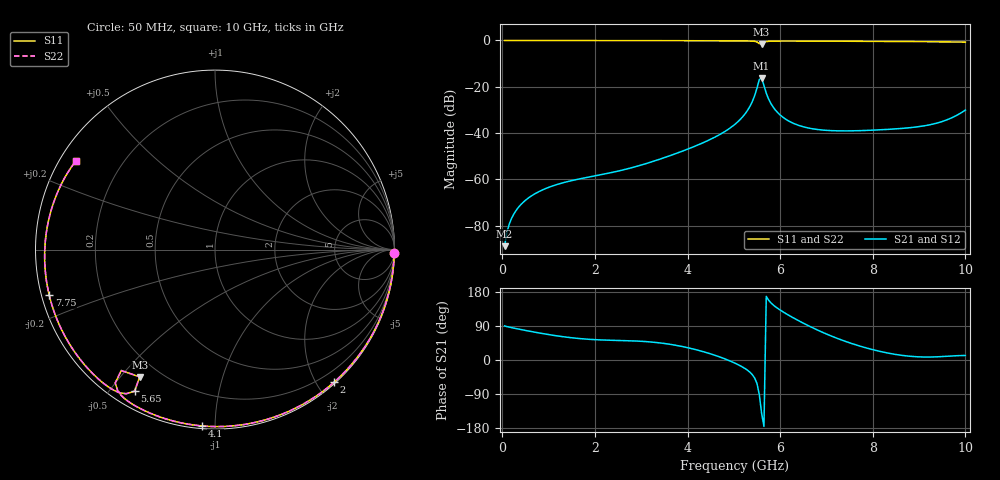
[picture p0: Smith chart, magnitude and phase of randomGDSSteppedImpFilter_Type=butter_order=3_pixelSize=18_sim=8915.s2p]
! freq	dB(S11)	phase(S11)	dB(S12)	phase(S12)
!  dB(S21)	phase(S21)	dB(S22)	phase(S22)
!S-par simulation data
#  GHz  S  DB  R 50
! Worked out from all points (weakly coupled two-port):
!   200 points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, 50 MHz to 10 GHz, reference 50 ohm
!   highest |S21| = -16.21 dB at 5.6 GHz (marker M1); lowest = -88.9 dB at 50 MHz (marker M2)
!   lowest |S11| = -1.7 dB at 5.6 GHz (marker M3), VSWR 10.38, Z = 6.37 - j28.2 ohm
!   |S11| at or under -10 dB: nowhere
!   |S22| runs from -1.7 to 0.0 dB; largest |S21 - S12| = 0
!   S11 on the Smith chart (normalised r, x): 50 MHz: 7, -94; 2 GHz: 0.02, -2.24; 4.1 GHz: 0.01, -0.93; 5.65 GHz: 0.07, -0.58; 7.75 GHz: 0.02, -0.13; 10 GHz: 0.05, +0.29
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0.05  -0.01 -1.2  -88.93 90.0  -88.93 90.0  -0.01 -1.2
0.15  -0.01 -3.7  -79.41 86.7  -79.41 86.7  -0.01 -3.7
0.4  -0.02 -9.8  -70.98 80.4  -70.98 80.4  -0.02 -9.8
0.7  -0.02 -17.1  -66.32 73.4  -66.32 73.4  -0.02 -17.1
1.75  -0.05 -42.2  -59.51 55.7  -59.51 55.7  -0.05 -42.2
2  -0.06 -48.1  -58.54 53.7  -58.54 53.7  -0.06 -48.1
3.4  -0.10 -79.3  -51.34 45.1  -51.34 45.1  -0.10 -79.3
4.1  -0.13 -94.1  -46.21 29.7  -46.21 29.7  -0.13 -94.1
5.05  -0.18 -114.0  -35.80 -9.7  -35.80 -9.7  -0.18 -114.0
5.35  -0.25 -121.1  -28.41 -32.5  -28.41 -32.5  -0.25 -121.1
5.5  -0.65 -126.8  -20.60 -62.2  -20.60 -62.2  -0.65 -126.8
5.55  -1.38 -127.8  -16.90 -91.4  -16.90 -91.4  -1.39 -127.8
5.6  -1.68 -120.6  -16.21 -140.8  -16.21 -140.8  -1.68 -120.6
5.65  -0.85 -119.6  -19.55 -175.3  -19.55 -175.3  -0.85 -119.6
5.8  -0.32 -125.1  -27.27 150.8  -27.27 150.8  -0.32 -125.1
6  -0.26 -130.0  -32.23 131.8  -32.23 131.8  -0.26 -130.0
6.3  -0.26 -136.3  -35.96 110.2  -35.96 110.2  -0.26 -136.3
6.7  -0.29 -144.2  -38.19 85.1  -38.19 85.1  -0.29 -144.2
7.75  -0.37 -164.6  -38.98 35.7  -38.98 35.7  -0.37 -164.6
8.35  -0.44 -176.5  -38.42 17.7  -38.42 17.7  -0.44 -176.5
9.35  -0.58 162.6  -35.92 8.2  -35.92 8.2  -0.58 162.6
10  -0.73 147.5  -30.10 11.9  -30.10 11.9  -0.73 147.4
